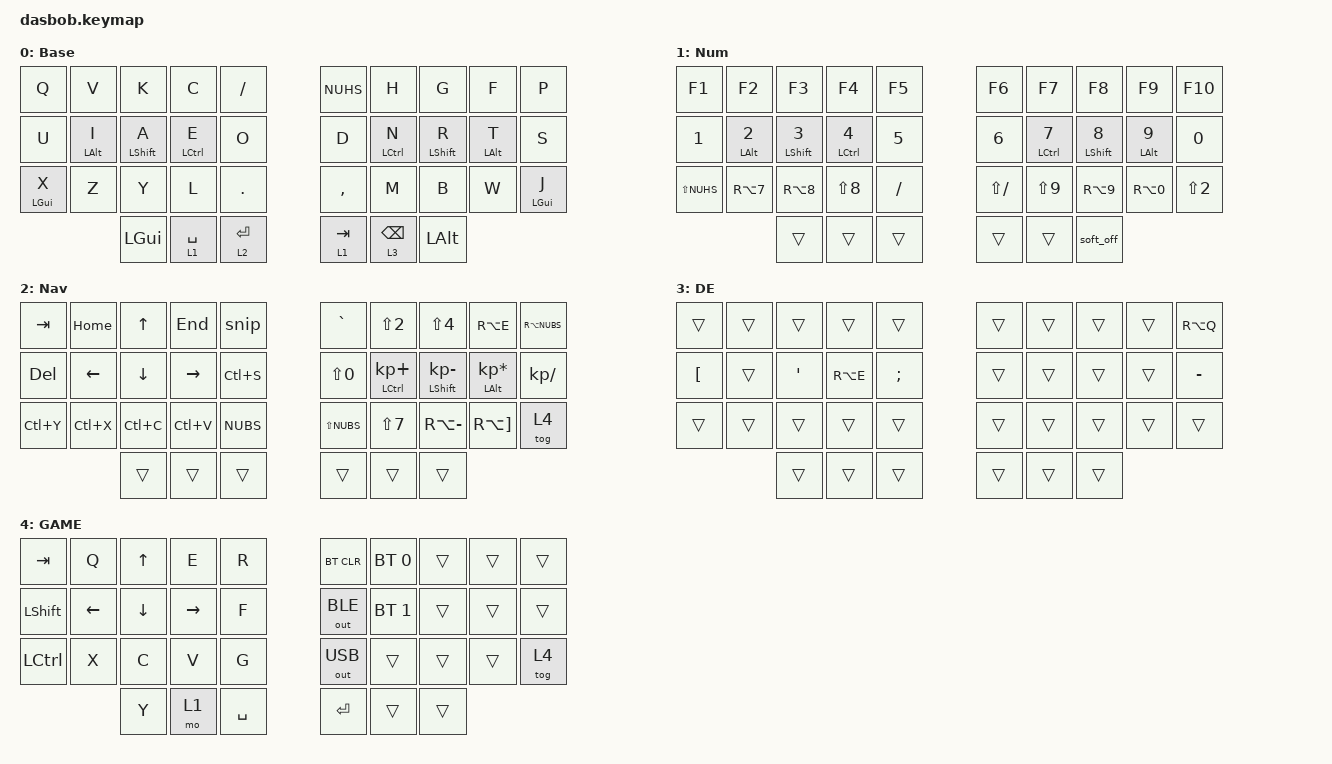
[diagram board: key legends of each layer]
#include <behaviors.dtsi>
#include <dt-bindings/zmk/keys.h>
#include <dt-bindings/zmk/bt.h>
#include <dt-bindings/zmk/ext_power.h>
#include <dt-bindings/zmk/outputs.h>


#define COMBO(NAME, BINDINGS, KEYPOS, LAYERS) \
combo_##NAME { \
    timeout-ms = <20>; \
    bindings = <BINDINGS>; \
    key-positions = <KEYPOS>; \
    layers = <LAYERS>; \
};
    &soft_off {
        hold-time-ms = <5000>; // Only turn off it the key is held for 5 seconds or longer.
    };
/ {
    behaviors {
        
        hl: homerow_mods_left {
            compatible = "zmk,behavior-hold-tap";
            label = "homerow mods left";
            #binding-cells = <2>;
            //flavor = "hold-preferred";
            // flavor = "tap-preferred";
            flavor = "balanced";
            tapping-term-ms = <250>;
            //quick-tap-ms = <100>;
            //hold-while-undecided;
            // global-quick-tap;
            bindings = <&kp>, <&kp>;
            // opposite side hand keys
            hold-trigger-key-positions = <5 6 7 8 9 15 16 17 18 19 25 26 27 28 29 30 31 32 33 34 35>;
        };
        hr: homerow_mods_right {
            compatible = "zmk,behavior-hold-tap";
            label = "homerow mods right";
            #binding-cells = <2>;
            //flavor = "hold-preferred";
            // flavor = "tap-preferred";
            flavor = "balanced";
            tapping-term-ms = <250>;
            //hold-while-undecided;
            //quick-tap-ms = <100>;
            // global-quick-tap;
            bindings = <&kp>, <&kp>;
            // opposite side hand keys
            hold-trigger-key-positions = <0 1 2 3 4 10 11 12 13 14 20 21 22 23 24 30 31 32 33 34 35>;
        };
       /* hd: homerow_mods_default {
            compatible = "zmk,behavior-hold-tap";
            label = "homerow mods default";
            #binding-cells = <2>;
            //flavor = "hold-preferred";
            // flavor = "tap-preferred";
            flavor = "balanced";
            tapping-term-ms = <130>;
            // global-quick-tap;
            bindings = <&kp>, <&kp>;
        }; */
    };
    combos {
        compatible = "zmk,combos";
        combo_esc {
            timeout-ms = <50>;
            layers = <0>;
            key-positions = <10 1>;
            bindings = <&kp ESC>;
        };
        combo_tab {
            timeout-ms = <50>;
            layers = <0>;
            key-positions = <20 21>;
            bindings = <&kp TAB>;
        };
        COMBO(shiftablesch, &macro_shiftable_sch, 17 18, 0)
        COMBO(LT,  &kp NUBS, 21, 22) 
        COMBO(GT,  &kp LS(NUBS), 27, 28)
        COMBO(SQT,  &kp LS(NUHS), 22, 23)
        COMBO(DQT,  &kp LS(N2), 25, 27)
        // COMBO(UML_AE, &kp SQT , 11 12, 0)
        // COMBO(UML_OE, &kp SEMI, 12 13, 0)
        // COMBO(UML_UE, &kp LBKT, 10 11, 0)
        // COMBO(DE_SS, &kp MINUS, 18 19, 0)
    };

    macros {       
        snip: snip {
            compatible = "zmk,behavior-macro";
            #binding-cells = <0>;
            bindings = <&macro_press &kp LSHFT &kp LEFT_GUI
                        &macro_tap &kp S
                        &macro_release &kp LSHIFT &kp LEFT_GUI>;
            label = "SNIP";
        };
        macro_shiftable_sch: macro_shiftable_sch {
            label = "Macro_shiftable_sch";
            compatible = "zmk,behavior-macro";
            #binding-cells = <0>;
            bindings = <
                    &macro_tap &kp S
                    &macro_release &kp LSHIFT
                    &macro_tap &kp C &kp H
            >;
            tap-ms = <10>;
        };

        
    };

    keymap {
        compatible = "zmk,keymap";

        // This is a sample keymap intended to be replaced with your own

        Base {
            bindings = <
&kp Q       &kp V        &kp K          &kp C           &kp SLASH   &kp NUHS   &kp H       &kp G       &kp F       &kp P
&kp U       &hl LALT I   &hl LSHFT A    &hl LCTRL E     &kp O       &kp D       &hr LCTRL N &hr LSHFT R &hr LALT T  &kp S
&hl LGUI X  &kp Z        &kp Y          &kp L           &kp DOT     &kp COMMA   &kp M       &kp B       &kp W       &hr LGUI J 
                        &kp LGUI        &lt 1 SPACE   &lt 2 ENTER &lt 1 TAB   &lt 3 BSPC  &kp LALT
            >;
        };

        Num {
            bindings = <
&kp F1       &kp F2        &kp F3          &kp F4           &kp F5   &kp F6         &kp F7       &kp F8       &kp F9       &kp F10
&kp N1       &hl LALT N2   &hl LSHFT N3    &hl LCTRL N4     &kp N5   &kp N6         &hr LCTRL N7 &hr LSHFT N8 &hr LALT N9  &kp N0
&kp LS(NUHS) &kp RA(N7)    &kp RA(N8)       &kp LS(N8)        &kp FSLH &kp LS(FSLH)   &kp LS(N9)   &kp RA(N9)   &kp RA(N0)   &kp LS(N2) 
                            &trans   &trans  &trans  &trans   &trans   &soft_off
            >;
        };

        Nav {
            bindings = <
&kp TAB     &kp HOME     &kp UP        &kp END        &snip       &kp GRAVE    &kp LS(N2)          &kp LS(N4)          &kp RA(E)             &kp RA(NUBS)
&kp DEL     &kp LEFT     &kp DOWN      &kp RIGHT      &kp LC(S)    &kp LS(N0)   &hr LCTRL KP_PLUS  &hr LSHIFT KP_MINUS &hr LALT KP_MULTIPLY  &kp KP_SLASH
&kp LC(Y)   &kp LC(X)    &kp LC(C)     &kp LC(V)      &kp NUBS     &kp LS(NUBS) &kp LS(N7)          &kp RA(MINUS)       &kp RA(RBKT)          &tog 4
                         &trans        &trans         &trans       &trans       &trans              &trans
            >;
        };

        DE {
            bindings = <
&trans      &trans  &trans  &trans      &trans      &trans    &trans    &trans  &trans  &kp RA(Q)
&kp LBKT    &trans  &kp SQT &kp RA(E)   &kp SEMI    &trans    &trans    &trans  &trans  &kp MINUS
&trans      &trans  &trans  &trans      &trans      &trans    &trans          &trans  &trans  &trans
                    &trans  &trans      &trans      &trans          &trans          &trans
            >;
        };
        GAME {
            bindings = <
&kp TAB     &kp Q       &kp UP      &kp E       &kp R       &bt BT_CLR      &bt BT_SEL 0    &trans  &trans  &trans
&kp LSHIFT  &kp LEFT    &kp DOWN    &kp RIGHT   &kp F       &out OUT_BLE    &bt BT_SEL 1    &trans  &trans  &trans
&kp LCTRL   &kp X       &kp C       &kp V       &kp G       &out OUT_USB    &trans    &trans  &trans  &tog 4
                        &kp Y       &mo 1       &kp SPACE   &kp ENTER &trans    &trans
            >;
        };

    };
};
